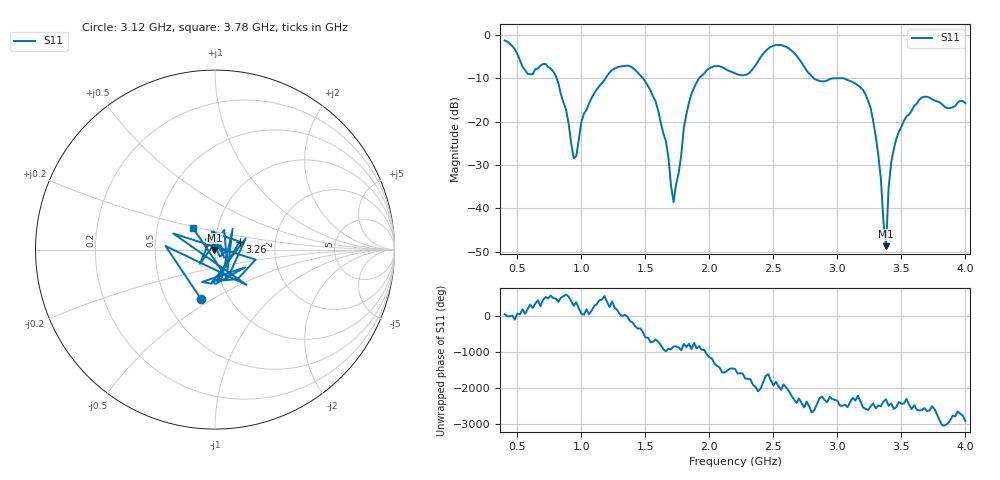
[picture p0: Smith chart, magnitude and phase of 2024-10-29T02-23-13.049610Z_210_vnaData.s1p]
!Created with skrf (http://scikit-rf.org).
# Hz S RI R 50.0
!freq ReS11 ImS11
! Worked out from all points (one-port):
!   181 points, 400 MHz to 4 GHz, reference 50 ohm
!   lowest |S11| = -48.7 dB at 3.38 GHz (marker M1), VSWR 1.01, Z = 49.7 - j0.189 ohm
!   |S11| at or under -10 dB: 807.4 MHz to 1.188 GHz (380.5 MHz wide, 38.1 % of centre); 1.482 GHz to 1.918 GHz (435.9 MHz wide, 25.6 % of centre); 3.049 GHz to end of sweep (the widest 3 of 4)
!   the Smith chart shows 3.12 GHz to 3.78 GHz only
!   S11 on the Smith chart (normalised r, x): 3.12 GHz: 0.74, -0.45; 3.26 GHz: 1.31, +0.12; 3.78 GHz: 0.76, +0.19
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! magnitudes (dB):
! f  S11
! 400 MHz  -1.2
! 580 MHz  -8.9
! 760 MHz  -7.7
! 860 MHz  -15.6
! 940 MHz  -28.4
! 1.08 GHz  -14.5
! 1.3 GHz  -7.2
! 1.42 GHz  -8.0
! 1.58 GHz  -15.3
! 1.66 GHz  -24.5
! 1.72 GHz  -38.5
! 1.76 GHz  -31.8
! 1.82 GHz  -18.2
! 1.92 GHz  -9.9
! 2.2 GHz  -8.8
! 2.5 GHz  -2.4
! 2.66 GHz  -4.0
! 2.82 GHz  -10.1
! 3.1 GHz  -10.6
! 3.12 GHz  -10.8
! 3.26 GHz  -16.8
! 3.32 GHz  -27.8
! 3.38 GHz  -48.7
! 3.4 GHz  -35.3
! 3.42 GHz  -29.4
! 3.56 GHz  -18.3
! 3.78 GHz  -15.3
! 4 GHz  -15.7
